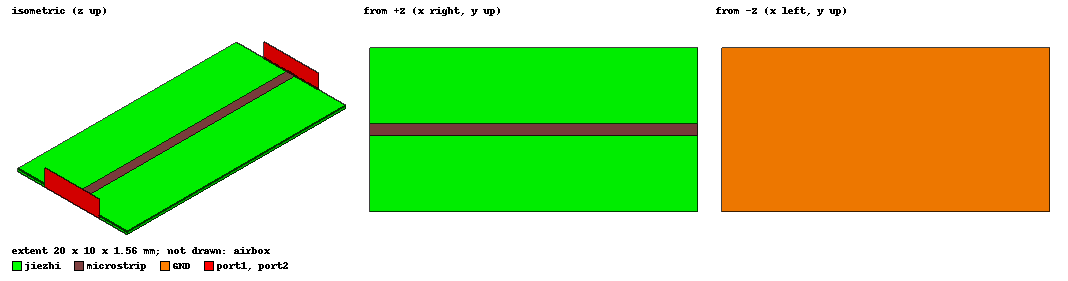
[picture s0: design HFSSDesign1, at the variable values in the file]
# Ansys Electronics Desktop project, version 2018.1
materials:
  vacuum: permittivity=1
  Taconic TLY (tm): permittivity=2.2 dielectric_loss_tangent=0.0009
  copper: permeability=0.999991 conductivity=58000000
  air: permittivity=1.0006 permeability=1.0000004

design HFSSDesign1 (HFSS, DrivenModal, model units mm)
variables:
  lamada = 30mm
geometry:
  jiezhi [Taconic TLY (tm)] = box(corner=(0mm, -5mm, 0mm), size=(20mm, 10mm, 0.25mm))
  GND = rectangle(corner=(0mm, -5mm, 0mm), x_size=20mm, y_size=10mm)
  microstrip [copper] = box(corner=(0mm, -0.36mm, 0.25mm), size=(20mm, 0.72mm, 0.035mm))
  airbox [air] = box(corner=(0, -lamada/8-5mm, -0.5mm), size=(20mm, lamada/4+10mm, lamada/4))
  port1 = rectangle(corner=(20mm, (-0.72*3.5) mm, 0mm), y_size=0.72*7mm, z_size=0.26*6mm)
  port2 = rectangle(corner=(0mm, (-0.72*3.5) mm, 0mm), y_size=0.72*7mm, z_size=0.26*6mm)
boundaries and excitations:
  Rad1: Radiation Objects=airbox
  PerfE1: Perfect E Objects=[GND, microstrip]
  1: Wave Port Objects=port1 NumModes=1 Modes{Mode1{CharImp=Zpi RenormImp=50ohm}}
  2: Wave Port Objects=port2 NumModes=1 Modes{Mode1{CharImp=Zpi RenormImp=50ohm}}
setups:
  Setup1: HfssDriven Frequency=26GHz MaxDeltaS=0.02 MaximumPasses=6 MinimumPasses=1 MinimumConvergedPasses=1 PercentRefinement=30 BasisOrder=1 PortAccuracy=2
    sweep Sweep: 22GHz to 30GHz step 0.05GHz; Type=Discrete
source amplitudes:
  1:1: 1W 0deg
  2:1: 0W 0deg
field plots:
  Mag_E1: E Field in jiezhi on Setup1 : LastAdaptive at Freq=26GHz Phase=0deg
  Mag_E2: E Field over port1.face on Setup1 : LastAdaptive at Freq=26GHz Phase=0deg
  Mesh1: MeshPlots over GND.face on Setup1 : LastAdaptive at Freq=26GHz Phase=0deg
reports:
  S Parameter Plot 1: dB(S(2,1)), dB(S(1,1)) vs Freq on Setup1 : Sweep
